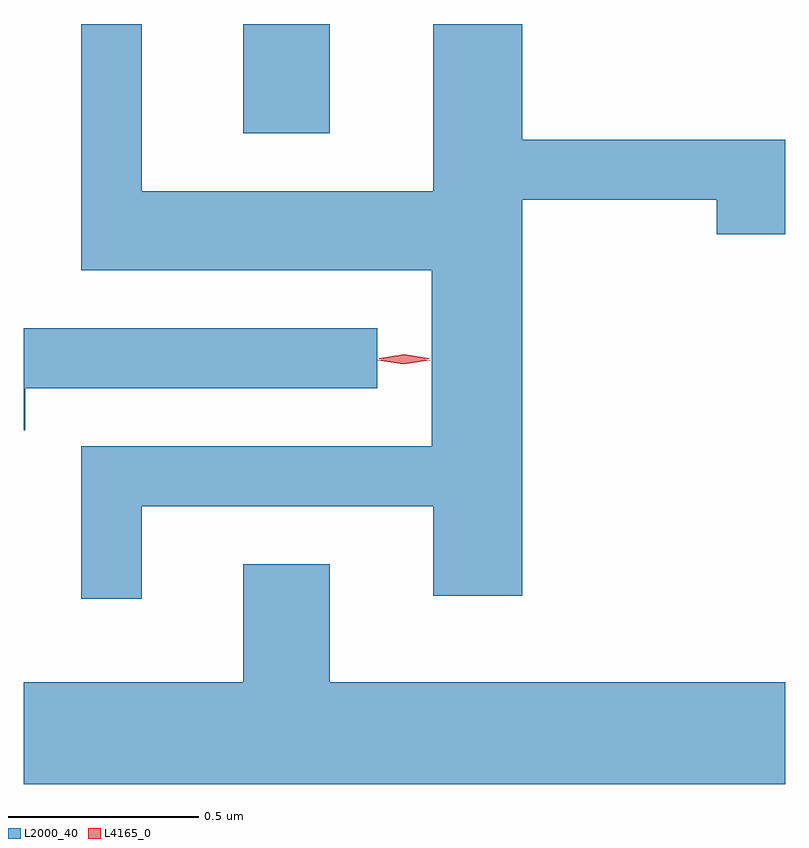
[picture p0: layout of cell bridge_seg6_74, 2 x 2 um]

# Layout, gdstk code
import gdstk
lib = gdstk.Library(unit=1e-6, precision=1e-09)
def R(c, l, rs):  # rectangles x0, y0, x1, y1
    for r in rs: c.add(gdstk.rectangle(r[:2], r[2:], *l))
def P(c, l, *ps):  # polygons
    for p in ps: c.add(gdstk.Polygon(p, *l))
L2000_40 = (2000, 40)
L4165_0 = (4165, 0)

bridge_seg6_74 = lib.new_cell('bridge_seg6_74')
R(bridge_seg6_74, L2000_40, [(1400.981,1642.766,1401.209,1643.053)])
P(bridge_seg6_74, L2000_40, [(1400.714,1641.786),(1401.481,1641.786),(1401.481,1641.551),(1401.714,1641.551),(1401.714,1642.591),(1402.226,1642.591),(1402.226,1642.501),(1402.405,1642.501),(1402.405,1642.749),(1401.714,1642.749),(1401.714,1643.053),(1401.481,1643.053),(1401.481,1642.614),(1400.714,1642.614),(1400.714,1643.053),(1400.556,1643.053),(1400.556,1642.406),(1401.476,1642.406),(1401.476,1641.944),(1400.556,1641.944),(1400.556,1641.543),(1400.714,1641.543)],
  [(1400.409,1642.096),(1401.333,1642.096),(1401.333,1642.254),(1400.405,1642.254),(1400.405,1641.986),(1400.409,1641.986)],
  [(1402.405,1641.324),(1401.209,1641.324),(1401.209,1641.634),(1400.981,1641.634),(1400.981,1641.324),(1400.405,1641.324),(1400.405,1641.056),(1402.405,1641.056)])
P(bridge_seg6_74, L4165_0, [(1401.404,1642.165),(1401.338,1642.174),(1401.337,1642.175),(1401.338,1642.175),(1401.404,1642.185),(1401.469,1642.175),(1401.47,1642.175),(1401.469,1642.174)],
  [(1401.403,1642.159),(1401.334,1642.169),(1401.333,1642.17),(1401.334,1642.17),(1401.403,1642.179),(1401.472,1642.17),(1401.473,1642.169),(1401.472,1642.169)])

lib.write_gds('bridge_seg6_74.gds')
